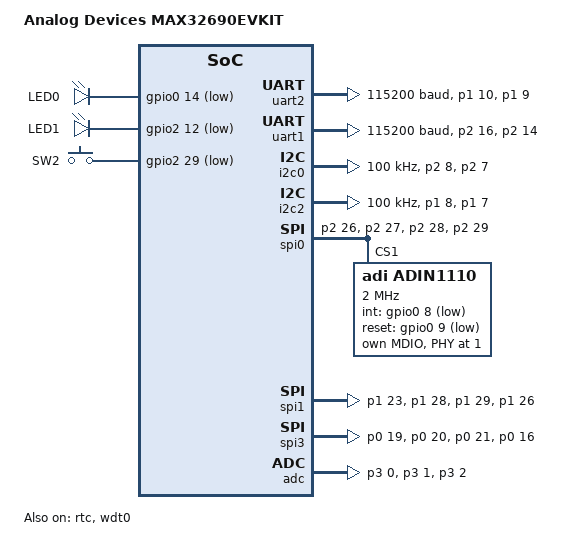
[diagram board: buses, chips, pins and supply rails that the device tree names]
/*
 * Copyright (c) 2023 Analog Devices, Inc.
 *
 * SPDX-License-Identifier: Apache-2.0
 */

/dts-v1/;

#include <adi/max32/max32690.dtsi>
#include <adi/max32/max32690-pinctrl.dtsi>
#include <zephyr/dt-bindings/gpio/adi-max32-gpio.h>

/ {
	model = "Analog Devices MAX32690EVKIT";
	compatible = "adi,max32690evkit";

	chosen {
		zephyr,console = &uart2;
		zephyr,shell-uart = &uart2;
		zephyr,sram = &sram0;
		zephyr,flash = &flash0;
	};

	leds {
		compatible = "gpio-leds";
		red_led: led_0 {
			gpios = <&gpio0 14 GPIO_ACTIVE_LOW>;
			label = "LED0";
		};
		green_led: led_1 {
			gpios = <&gpio2 12 GPIO_ACTIVE_LOW>;
			label = "LED1";
		};
	};

	buttons {
		compatible = "gpio-keys";
		pb0: pb0 {
			/* SW2 on EVKIT connects to GPIO4 which does not support interrupts,
			 * so advised to fit jumper on JH5 to connect SW2 (P4.0) to P2.29
			 */
			gpios = <&gpio2 29 (GPIO_PULL_UP | GPIO_ACTIVE_LOW)>;
			label = "SW2";
		};
	};

	aliases {
		led0 = &red_led;
		led1 = &green_led;
		sw0 = &pb0;
		rtc = &rtc;
		watchdog0 = &wdt0;
	 };
};

&clk_ipo {
	status = "okay";
};

/*
 * ERTCO requires for RTC
 */
&clk_ertco {
	status = "okay";
};

&gpio0 {
	status = "okay";
};

&gpio1 {
	status = "okay";
};

&gpio2 {
	status = "okay";
};

&gpio3 {
	status = "okay";
};

&uart2 {
	pinctrl-0 = <&uart2a_tx_p1_10 &uart2a_rx_p1_9>;
	pinctrl-names = "default";
	current-speed = <115200>;
	data-bits = <8>;
	parity = "none";
	status = "okay";
};

&uart1 {
	pinctrl-0 = <&uart1a_tx_p2_16 &uart1a_rx_p2_14>;
	pinctrl-names = "default";
	current-speed = <115200>;
	data-bits = <8>;
	parity = "none";
	status = "okay";
};

&i2c0 {
	pinctrl-0 = <&i2c0a_scl_p2_8 &i2c0a_sda_p2_7>;
	pinctrl-names = "default";
	clock-frequency = <I2C_BITRATE_STANDARD>;
	status = "okay";
};

&i2c2 {
	pinctrl-0 = <&i2c2c_scl_p1_8 &i2c2c_sda_p1_7>;
	pinctrl-names = "default";
	clock-frequency = <I2C_BITRATE_STANDARD>;
	status = "okay";
};

&spi0b_ss1_p2_26 {
	power-source = <MAX32_VSEL_VDDIOH>;
};
&spi0b_miso_p2_27 {
	power-source = <MAX32_VSEL_VDDIOH>;
};
&spi0b_mosi_p2_28 {
	power-source = <MAX32_VSEL_VDDIOH>;
};
&spi0b_ss1_p2_26 {
	power-source = <MAX32_VSEL_VDDIOH>;
};
&spi0b_sck_p2_29 {
	power-source = <MAX32_VSEL_VDDIOH>;
};

&spi0 {
	pinctrl-0 = <&spi0b_ss1_p2_26 &spi0b_miso_p2_27
				&spi0b_mosi_p2_28 &spi0b_sck_p2_29>;
	pinctrl-names = "default";
	status = "okay";
	adin1110: adin1110@1 {
		compatible = "adi,adin1110";
		reg = <0x1>;
		spi-max-frequency = <2000000>;
		int-gpios   = <&gpio0 8 (GPIO_PULL_UP | GPIO_ACTIVE_LOW | MAX32_GPIO_VSEL_VDDIOH)>;
		reset-gpios = <&gpio0 9 (GPIO_ACTIVE_LOW | MAX32_GPIO_VSEL_VDDIOH)>;
		port1 {
			local-mac-address = [ CA 2F B7 10 23 63 ];
		};
		mdio: mdio {
			compatible = "adi,adin2111-mdio";
			status = "okay";
			#address-cells = <1>;
			#size-cells = <0>;
			ethernet-phy@1 {
				reg = <0x1>;
				compatible = "adi,adin2111-phy";
			};
		};
	};
};

&spi1 {
	pinctrl-0 = <&spi1a_ss0_p1_23 &spi1a_miso_p1_28
				&spi1a_mosi_p1_29 &spi1a_sck_p1_26>;
};

&spi3 {
	pinctrl-0 = <&spi3a_ss0_p0_19 &spi3a_miso_p0_20
				&spi3a_mosi_p0_21 &spi3a_sck_p0_16>;
};

&dma0 {
	status = "okay";
};

&rtc {
	status = "okay";
	alarms-count = <1>;
};

&wdt0 {
	status = "okay";
};

&trng {
	status = "disabled";
};

&adc {
	status = "okay";
	pinctrl-0 = <&ain0_p3_0 &ain1_p3_1 &ain2_p3_2>;
	pinctrl-names = "default";
	#address-cells = <1>;
	#size-cells = <0>;
};
